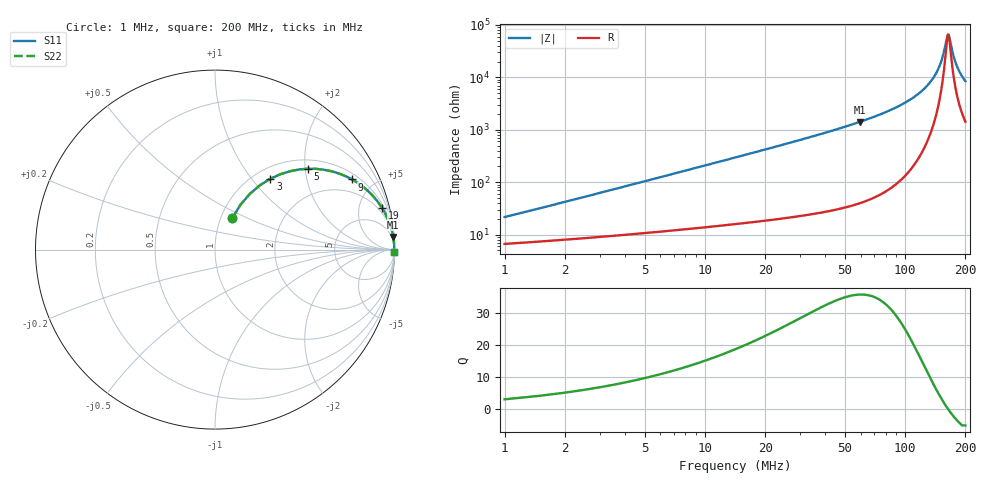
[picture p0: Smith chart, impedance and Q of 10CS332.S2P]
! Coilcraft 1008CS-332 Chip Inductor
! 02 July 2002
# MHZ S MA R 50
!Freq  MagS11  AngS11  MagS21  AngS21  MagS12  AngS12  MagS22  AngS22
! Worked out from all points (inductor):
!   399 points, 1 MHz to 200 MHz, reference 50 ohm
!   read as one part in series: L = 3.3 uH near 1.5 MHz
!   highest Q = 35.6 at 59.5 MHz (marker M1), where L = 3.8 uH
!   self-resonance near 164 MHz
!   S11 on the Smith chart (normalised r, x): 1 MHz: 1.13, +0.41; 3 MHz: 1.18, +1.24; 5 MHz: 1.21, +2.08; 9 MHz: 1.27, +3.74; 19 MHz: 1.36, +7.99; 200 MHz: open
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1  0.2004 61.2  0.9202 -11.0  0.9202 -11.0  0.2004 61.2
2  0.3651 58.0  0.8642 -21.0  0.8642 -21.0  0.3651 58.0
3  0.5008 52.0  0.7964 -29.7  0.7964 -29.7  0.5008 52.0
5  0.6875 41.0  0.659 -43.1  0.659 -43.1  0.6875 41.0
9  0.8577 27.1  0.4571 -58.8  0.4571 -58.8  0.8577 27.1
13  0.9217 19.8  0.3393 -67.0  0.3393 -67.0  0.9217 19.8
19  0.9599 13.9  0.2402 -73.5  0.2402 -73.5  0.9599 13.9
34.5  0.9869 7.6  0.1318 -80.5  0.1318 -80.5  0.9869 7.6
59.5  0.9956 4.0  0.07008 -84.4  0.07008 -84.4  0.9956 4.0
67.5  0.9966 3.4  0.05915 -85.0  0.05915 -85.0  0.9966 3.4
100.5  0.9983 1.7  0.02996 -86.0  0.02996 -86.0  0.9983 1.7
134  0.9987 0.7  0.01206 -83.3  0.01206 -83.3  0.9987 0.7
143  0.9986 0.5  0.008239 -80.3  0.008239 -80.3  0.9986 0.5
150.5  0.9986 0.3  0.005301 -74.6  0.005301 -74.6  0.9986 0.3
155.5  0.9986 0.2  0.003503 -65.8  0.003503 -65.8  0.9986 0.2
163  0.9985 0.0  0.001566 -16.3  0.001566 -16.3  0.9985 0.0
165  0.9985 -0.0  0.001549 10.2  0.001549 10.2  0.9985 -0.0
167  0.9985 -0.1  0.001831 32.3  0.001831 32.3  0.9985 -0.1
173.5  0.9984 -0.2  0.003602 63.1  0.003602 63.1  0.9984 -0.2
180  0.9983 -0.3  0.005636 72.1  0.005636 72.1  0.9983 -0.3
189  0.9981 -0.5  0.008443 77.1  0.008443 77.1  0.9981 -0.5
200  0.9979 -0.7  0.01176 79.6  0.01176 79.6  0.9979 -0.7
